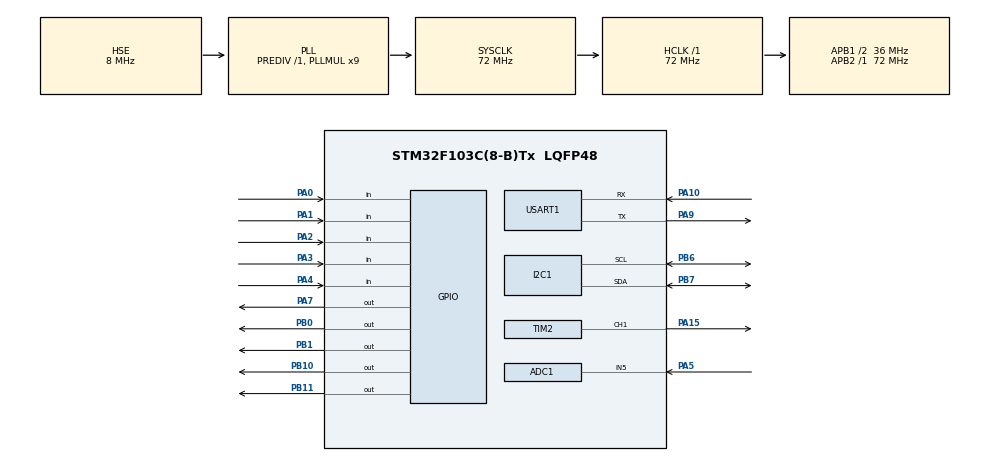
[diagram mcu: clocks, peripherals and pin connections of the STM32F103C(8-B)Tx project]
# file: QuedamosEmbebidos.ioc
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ADC1.Channel-0\#ChannelRegularConversion=ADC_CHANNEL_5
ADC1.ExternalTrigConv=ADC_EXTERNALTRIGCONV_T3_TRGO
ADC1.NbrOfConversionFlag=1
ADC1.Rank-0\#ChannelRegularConversion=1
ADC1.SamplingTime-0\#ChannelRegularConversion=ADC_SAMPLETIME_1CYCLE_5
ADC1.master=1
Dma.Request0=TIM1_UP
Dma.TIM1_UP.0.Direction=DMA_MEMORY_TO_PERIPH
Dma.TIM1_UP.0.Instance=DMA1_Channel5
Dma.TIM1_UP.0.MemDataAlignment=DMA_MDATAALIGN_BYTE
Dma.TIM1_UP.0.MemInc=DMA_MINC_ENABLE
Dma.TIM1_UP.0.Mode=DMA_CIRCULAR
Dma.TIM1_UP.0.PeriphDataAlignment=DMA_PDATAALIGN_HALFWORD
Dma.TIM1_UP.0.PeriphInc=DMA_PINC_DISABLE
Dma.TIM1_UP.0.Priority=DMA_PRIORITY_LOW
FREERTOS.BinarySemaphores01=Semaforo1,Dynamic,NULL,Available
FREERTOS.INCLUDE_xTaskGetCurrentTaskHandle=1
FREERTOS.Tasks01=Bornera,32,128,StartBorneraTask,Default,NULL,Dynamic,NULL,NULL;UI,24,256,StartTaskUI,Default,NULL,Dynamic,NULL,NULL;DAC,24,128,StartDAC,Default,NULL,Dynamic,NULL,NULL
FREERTOS.configTOTAL_HEAP_SIZE=3450
FREERTOS.configUSE_APPLICATION_TASK_TAG=1
FREERTOS.configUSE_NEWLIB_REENTRANT=1
I2C1.I2C_Mode=I2C_Fast
Mcu.Family=STM32F1
Mcu.Name=STM32F103C(8-B)Tx
Mcu.Package=LQFP48
NVIC.ADC1_2_IRQn=true\:5\:0\:false\:false\:true\:true\:true\:true\:true
NVIC.DMA1_Channel5_IRQn=true\:5\:0\:false\:false\:true\:true\:false\:true\:true
NVIC.PriorityGroup=NVIC_PRIORITYGROUP_4
NVIC.TIM3_IRQn=true\:5\:0\:false\:false\:true\:true\:true\:true\:true
NVIC.TIM4_IRQn=true\:15\:0\:false\:false\:true\:false\:false\:true\:true
NVIC.TimeBase=TIM4_IRQn
NVIC.TimeBaseIP=TIM4
PA0-WKUP.GPIO_PuPd=GPIO_PULLUP
PA0-WKUP.Signal=GPIO_Input
PA1.GPIO_PuPd=GPIO_PULLUP
PA1.Signal=GPIO_Input
PA10.Mode=Asynchronous
PA10.Signal=USART1_RX
PA13.Mode=Serial_Wire
PA13.Signal=SYS_JTMS-SWDIO
PA14.Mode=Serial_Wire
PA14.Signal=SYS_JTCK-SWCLK
PA15.Signal=S_TIM2_CH1_ETR
PA2.GPIO_PuPd=GPIO_PULLUP
PA2.Signal=GPIO_Input
PA3.GPIO_PuPd=GPIO_PULLUP
PA3.Signal=GPIO_Input
PA4.GPIO_PuPd=GPIO_PULLUP
PA4.Signal=GPIO_Input
PA5.Signal=ADCx_IN5
PA7.Signal=GPIO_Output
PA9.Mode=Asynchronous
PA9.Signal=USART1_TX
PB0.Signal=GPIO_Output
PB1.Signal=GPIO_Output
PB10.Signal=GPIO_Output
PB11.Signal=GPIO_Output
PB6.Mode=I2C
PB6.Signal=I2C1_SCL
PB7.Mode=I2C
PB7.Signal=I2C1_SDA
PD0-OSC_IN.Mode=HSE-External-Oscillator
PD0-OSC_IN.Signal=RCC_OSC_IN
PD1-OSC_OUT.Mode=HSE-External-Oscillator
PD1-OSC_OUT.Signal=RCC_OSC_OUT
ProjectManager.HeapSize=0x200
ProjectManager.StackSize=0x400
ProjectManager.TargetToolchain=STM32CubeIDE
RCC.ADCPresc=RCC_ADCPCLK2_DIV6
RCC.AHBFreq_Value=72000000
RCC.APB1CLKDivider=RCC_HCLK_DIV2
RCC.APB1Freq_Value=36000000
RCC.APB1TimFreq_Value=72000000
RCC.APB2Freq_Value=72000000
RCC.APB2TimFreq_Value=72000000
RCC.HCLKFreq_Value=72000000
RCC.PLLMUL=RCC_PLL_MUL9
RCC.PLLSourceVirtual=RCC_PLLSOURCE_HSE
RCC.SYSCLKFreq_VALUE=72000000
RCC.SYSCLKSource=RCC_SYSCLKSOURCE_PLLCLK
RCC.USBFreq_Value=72000000
SH.ADCx_IN5.0=ADC1_IN5,IN5
SH.S_TIM2_CH1_ETR.0=TIM2_CH1,PWM Generation1 CH1
TIM1.Period=1000-1
TIM1.Prescaler=72-1
TIM2.Channel-PWM\ Generation1\ CH1=TIM_CHANNEL_1
TIM2.Period=255
TIM3.Period=1000-1
TIM3.Prescaler=72-1
USART1.VirtualMode=VM_ASYNC
VP_FREERTOS_VS_CMSIS_V2.Mode=CMSIS_V2
VP_SYS_VS_tim4.Mode=TIM4
VP_TIM1_VS_ClockSourceINT.Mode=Internal
VP_TIM2_VS_ClockSourceINT.Mode=Internal
VP_TIM3_VS_ClockSourceINT.Mode=Internal
board=custom

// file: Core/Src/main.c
/* USER CODE BEGIN Header */
/**
  ******************************************************************************
  * @file           : main.c
  * @brief          : Main program body
  ******************************************************************************
  * @attention
  *
  * Copyright (c) 2024 STMicroelectronics.
  * All rights reserved.
  *
  * This software is licensed under terms that can be found in the LICENSE file
  * in the root directory of this software component.
  * If no LICENSE file comes with this software, it is provided AS-IS.
  *
  ******************************************************************************
  */
/* USER CODE END Header */
#include "main.h"
#include "cmsis_os.h"

/* USER CODE BEGIN Includes */
#include "ssd1306.h"
#include "math.h"
#include "stdint.h"
#include "stdio.h"
#include "fft.h"
#include "task.h"
/* USER CODE END Includes */

/* USER CODE BEGIN PTD */
typedef enum
{
	ENC_IDLE,
    CW00,
	CW01,
	CW10,
	CCW00,
	CCW01,
	CCW10
} EncoderState;

typedef enum
{
	STATE_A_LOW_B_LOW,
	STATE_A_LOW_B_HIGH,
	STATE_A_HIGH_B_LOW,
	STATE_A_HIGH_B_HIGH
}EncoderEvento;

/* USER CODE END PTD */

/* USER CODE BEGIN PD */
#define NSEN 100
#define PI 3.14159265
#define BUFFER_SIZE 256
#define FFT_SIZE 256

/* USER CODE END PD */

ADC_HandleTypeDef hadc1;

I2C_HandleTypeDef hi2c1;

TIM_HandleTypeDef htim1;
TIM_HandleTypeDef htim2;
TIM_HandleTypeDef htim3;
DMA_HandleTypeDef hdma_tim1_up;

UART_HandleTypeDef huart1;

/* Definitions for Bornera */
osThreadId_t BorneraHandle;
const osThreadAttr_t Bornera_attributes = {
  .name = "Bornera",
  .stack_size = 128 * 4,
  .priority = (osPriority_t) osPriorityAboveNormal,
};
/* Definitions for UI */
osThreadId_t UIHandle;
const osThreadAttr_t UI_attributes = {
  .name = "UI",
  .stack_size = 256 * 4,
  .priority = (osPriority_t) osPriorityNormal,
};
/* Definitions for DAC */
osThreadId_t DACHandle;
const osThreadAttr_t DAC_attributes = {
  .name = "DAC",
  .stack_size = 128 * 4,
  .priority = (osPriority_t) osPriorityNormal,
};
/* Definitions for Semaforo1 */
osSemaphoreId_t Semaforo1Handle;
const osSemaphoreAttr_t Semaforo1_attributes = {
  .name = "Semaforo1"
};
/* USER CODE BEGIN PV */

/* VARIABLES PARA LA UI*/
volatile uint8_t Screen = 1;
volatile uint8_t ConfSub = 0;
volatile uint8_t Boton2 = 0;
volatile int encoder_c = 0;
volatile int enc_uart = 0;
volatile int enc_graf = 0;
int encoder_position = 0;
int flag_salto_screen=0;
int flag_cursor_quieto=0;

/*FLAG PARA SUBMAQUINA 1*/
volatile uint8_t flag_frec = 0;
volatile uint8_t flag_amp = 0;
uint8_t flag_enc = 0;
uint8_t flag_uart = 0;

/*VARIABLES QUE SE MUESTRAN */
uint8_t amplitud = 255;
float frecuencia = 5.0;
uint8_t sine_wave[NSEN] = {0};
uint16_t adc_buffer[BUFFER_SIZE] = {0};
struct cmpx fft[FFT_SIZE];
float fft_R[128];
uint16_t f[128];
uint8_t cont = 0;

/*VARIABLES PARA EL STACK*/
uint16_t FreeBornera,FreeUI,FreeHeap,FreeDAC=0;

/* USER CODE END PV */

void SystemClock_Config(void);
static void MX_GPIO_Init(void);
static void MX_DMA_Init(void);
static void MX_I2C1_Init(void);
static void MX_TIM3_Init(void);
static void MX_USART1_UART_Init(void);
static void MX_TIM1_Init(void);
static void MX_TIM2_Init(void);
static void MX_ADC1_Init(void);
void StartBorneraTask(void *argument);
void StartTaskUI(void *argument);
void StartDAC(void *argument);

/* USER CODE BEGIN PFP */

void SSD1306_FillArea(uint16_t x, uint16_t y, uint16_t w, uint16_t h, uint8_t color);	// RECTANGULO BLANCO DE LA OPCION
void Encoder_UpdatePosition(void); 														// DEVUELVE CAMBIO DEL ENCODER
void Init_PWM_DMA(void);																// INCIA LA PWM Y GENERA EL REQUEST DEL DMA
void DibujarFFT(float *data);

/* USER CODE END PFP */

int main(void)
{

  /* MCU Configuration--------------------------------------------------------*/

  /* Reset of all peripherals, Initializes the Flash interface and the Systick. */
  HAL_Init();

  /* Configure the system clock */
  SystemClock_Config();

  /* Initialize all configured peripherals */
  MX_GPIO_Init();
  MX_DMA_Init();
  MX_I2C1_Init();
  MX_TIM3_Init();
  MX_USART1_UART_Init();
  MX_TIM1_Init();
  MX_TIM2_Init();
  MX_ADC1_Init();
  /* USER CODE BEGIN 2 */
  SSD1306_Init();
  Init_PWM_DMA();
  /* USER CODE END 2 */

  /* Init scheduler */
  osKernelInitialize();

  /* Create the semaphores(s) */
  /* creation of Semaforo1 */
  Semaforo1Handle = osSemaphoreNew(1, 1, &Semaforo1_attributes);

  /* Create the thread(s) */
  /* creation of Bornera */
  BorneraHandle = osThreadNew(StartBorneraTask, NULL, &Bornera_attributes);

  /* creation of UI */
  UIHandle = osThreadNew(StartTaskUI, NULL, &UI_attributes);

  /* creation of DAC */
  DACHandle = osThreadNew(StartDAC, NULL, &DAC_attributes);

  /* Start scheduler */
  osKernelStart();

  /* We should never get here as control is now taken by the scheduler */

  /* Infinite loop */
  while (1)
  {

  }
}

void SystemClock_Config(void)
{
  RCC_OscInitTypeDef RCC_OscInitStruct = {0};
  RCC_ClkInitTypeDef RCC_ClkInitStruct = {0};
  RCC_PeriphCLKInitTypeDef PeriphClkInit = {0};

  /** Initializes the RCC Oscillators according to the specified parameters
  * in the RCC_OscInitTypeDef structure.
  */
  RCC_OscInitStruct.OscillatorType = RCC_OSCILLATORTYPE_HSE;
  RCC_OscInitStruct.HSEState = RCC_HSE_ON;
  RCC_OscInitStruct.HSEPredivValue = RCC_HSE_PREDIV_DIV1;
  RCC_OscInitStruct.HSIState = RCC_HSI_ON;
  RCC_OscInitStruct.PLL.PLLState = RCC_PLL_ON;
  RCC_OscInitStruct.PLL.PLLSource = RCC_PLLSOURCE_HSE;
  RCC_OscInitStruct.PLL.PLLMUL = RCC_PLL_MUL9;
  if (HAL_RCC_OscConfig(&RCC_OscInitStruct) != HAL_OK)
  {
    Error_Handler();
  }

  /** Initializes the CPU, AHB and APB buses clocks
  */
  RCC_ClkInitStruct.ClockType = RCC_CLOCKTYPE_HCLK|RCC_CLOCKTYPE_SYSCLK
                              |RCC_CLOCKTYPE_PCLK1|RCC_CLOCKTYPE_PCLK2;
  RCC_ClkInitStruct.SYSCLKSource = RCC_SYSCLKSOURCE_PLLCLK;
  RCC_ClkInitStruct.AHBCLKDivider = RCC_SYSCLK_DIV1;
  RCC_ClkInitStruct.APB1CLKDivider = RCC_HCLK_DIV2;
  RCC_ClkInitStruct.APB2CLKDivider = RCC_HCLK_DIV1;

  if (HAL_RCC_ClockConfig(&RCC_ClkInitStruct, FLASH_LATENCY_2) != HAL_OK)
  {
    Error_Handler();
  }
  PeriphClkInit.PeriphClockSelection = RCC_PERIPHCLK_ADC;
  PeriphClkInit.AdcClockSelection = RCC_ADCPCLK2_DIV6;
  if (HAL_RCCEx_PeriphCLKConfig(&PeriphClkInit) != HAL_OK)
  {
    Error_Handler();
  }
}

static void MX_ADC1_Init(void)
{

  ADC_ChannelConfTypeDef sConfig = {0};

  /** Common config
  */
  hadc1.Instance = ADC1;
  hadc1.Init.ScanConvMode = ADC_SCAN_DISABLE;
  hadc1.Init.ContinuousConvMode = DISABLE;
  hadc1.Init.DiscontinuousConvMode = DISABLE;
  hadc1.Init.ExternalTrigConv = ADC_EXTERNALTRIGCONV_T3_TRGO;
  hadc1.Init.DataAlign = ADC_DATAALIGN_RIGHT;
  hadc1.Init.NbrOfConversion = 1;
  if (HAL_ADC_Init(&hadc1) != HAL_OK)
  {
    Error_Handler();
  }

  /** Configure Regular Channel
  */
  sConfig.Channel = ADC_CHANNEL_5;
  sConfig.Rank = ADC_REGULAR_RANK_1;
  sConfig.SamplingTime = ADC_SAMPLETIME_1CYCLE_5;
  if (HAL_ADC_ConfigChannel(&hadc1, &sConfig) != HAL_OK)
  {
    Error_Handler();
  }

}

static void MX_I2C1_Init(void)
{

  hi2c1.Instance = I2C1;
  hi2c1.Init.ClockSpeed = 400000;
  hi2c1.Init.DutyCycle = I2C_DUTYCYCLE_2;
  hi2c1.Init.OwnAddress1 = 0;
  hi2c1.Init.AddressingMode = I2C_ADDRESSINGMODE_7BIT;
  hi2c1.Init.DualAddressMode = I2C_DUALADDRESS_DISABLE;
  hi2c1.Init.OwnAddress2 = 0;
  hi2c1.Init.GeneralCallMode = I2C_GENERALCALL_DISABLE;
  hi2c1.Init.NoStretchMode = I2C_NOSTRETCH_DISABLE;
  if (HAL_I2C_Init(&hi2c1) != HAL_OK)
  {
    Error_Handler();
  }

}

static void MX_TIM1_Init(void)
{

  TIM_ClockConfigTypeDef sClockSourceConfig = {0};
  TIM_MasterConfigTypeDef sMasterConfig = {0};

  htim1.Instance = TIM1;
  htim1.Init.Prescaler = 72-1;
  htim1.Init.CounterMode = TIM_COUNTERMODE_UP;
  htim1.Init.Period = 1000-1;
  htim1.Init.ClockDivision = TIM_CLOCKDIVISION_DIV1;
  htim1.Init.RepetitionCounter = 0;
  htim1.Init.AutoReloadPreload = TIM_AUTORELOAD_PRELOAD_DISABLE;
  if (HAL_TIM_Base_Init(&htim1) != HAL_OK)
  {
    Error_Handler();
  }
  sClockSourceConfig.ClockSource = TIM_CLOCKSOURCE_INTERNAL;
  if (HAL_TIM_ConfigClockSource(&htim1, &sClockSourceConfig) != HAL_OK)
  {
    Error_Handler();
  }
  sMasterConfig.MasterOutputTrigger = TIM_TRGO_RESET;
  sMasterConfig.MasterSlaveMode = TIM_MASTERSLAVEMODE_DISABLE;
  if (HAL_TIMEx_MasterConfigSynchronization(&htim1, &sMasterConfig) != HAL_OK)
  {
    Error_Handler();
  }

}

static void MX_TIM2_Init(void)
{

  TIM_ClockConfigTypeDef sClockSourceConfig = {0};
  TIM_MasterConfigTypeDef sMasterConfig = {0};
  TIM_OC_InitTypeDef sConfigOC = {0};

  htim2.Instance = TIM2;
  htim2.Init.Prescaler = 0;
  htim2.Init.CounterMode = TIM_COUNTERMODE_UP;
  htim2.Init.Period = 255;
  htim2.Init.ClockDivision = TIM_CLOCKDIVISION_DIV1;
  htim2.Init.AutoReloadPreload = TIM_AUTORELOAD_PRELOAD_DISABLE;
  if (HAL_TIM_Base_Init(&htim2) != HAL_OK)
  {
    Error_Handler();
  }
  sClockSourceConfig.ClockSource = TIM_CLOCKSOURCE_INTERNAL;
  if (HAL_TIM_ConfigClockSource(&htim2, &sClockSourceConfig) != HAL_OK)
  {
    Error_Handler();
  }
  if (HAL_TIM_PWM_Init(&htim2) != HAL_OK)
  {
    Error_Handler();
  }
  sMasterConfig.MasterOutputTrigger = TIM_TRGO_RESET;
  sMasterConfig.MasterSlaveMode = TIM_MASTERSLAVEMODE_DISABLE;
  if (HAL_TIMEx_MasterConfigSynchronization(&htim2, &sMasterConfig) != HAL_OK)
  {
    Error_Handler();
  }
  sConfigOC.OCMode = TIM_OCMODE_PWM1;
  sConfigOC.Pulse = 0;
  sConfigOC.OCPolarity = TIM_OCPOLARITY_HIGH;
  sConfigOC.OCFastMode = TIM_OCFAST_DISABLE;
  if (HAL_TIM_PWM_ConfigChannel(&htim2, &sConfigOC, TIM_CHANNEL_1) != HAL_OK)
  {
    Error_Handler();
  }
  HAL_TIM_MspPostInit(&htim2);

}

static void MX_TIM3_Init(void)
{

  TIM_ClockConfigTypeDef sClockSourceConfig = {0};
  TIM_MasterConfigTypeDef sMasterConfig = {0};

  htim3.Instance = TIM3;
  htim3.Init.Prescaler = 72-1;
  htim3.Init.CounterMode = TIM_COUNTERMODE_UP;
  htim3.Init.Period = 1000-1;
  htim3.Init.ClockDivision = TIM_CLOCKDIVISION_DIV1;
  htim3.Init.AutoReloadPreload = TIM_AUTORELOAD_PRELOAD_DISABLE;
  if (HAL_TIM_Base_Init(&htim3) != HAL_OK)
  {
    Error_Handler();
  }
  sClockSourceConfig.ClockSource = TIM_CLOCKSOURCE_INTERNAL;
  if (HAL_TIM_ConfigClockSource(&htim3, &sClockSourceConfig) != HAL_OK)
  {
    Error_Handler();
  }
  sMasterConfig.MasterOutputTrigger = TIM_TRGO_RESET;
  sMasterConfig.MasterSlaveMode = TIM_MASTERSLAVEMODE_DISABLE;
  if (HAL_TIMEx_MasterConfigSynchronization(&htim3, &sMasterConfig) != HAL_OK)
  {
    Error_Handler();
  }

}

static void MX_USART1_UART_Init(void)
{

  huart1.Instance = USART1;
  huart1.Init.BaudRate = 115200;
  huart1.Init.WordLength = UART_WORDLENGTH_8B;
  huart1.Init.StopBits = UART_STOPBITS_1;
  huart1.Init.Parity = UART_PARITY_NONE;
  huart1.Init.Mode = UART_MODE_TX_RX;
  huart1.Init.HwFlowCtl = UART_HWCONTROL_NONE;
  huart1.Init.OverSampling = UART_OVERSAMPLING_16;
  if (HAL_UART_Init(&huart1) != HAL_OK)
  {
    Error_Handler();
  }

}

static void MX_DMA_Init(void)
{

  /* DMA controller clock enable */
  __HAL_RCC_DMA1_CLK_ENABLE();

  /* DMA interrupt init */
  /* DMA1_Channel5_IRQn interrupt configuration */
  HAL_NVIC_SetPriority(DMA1_Channel5_IRQn, 5, 0);
  HAL_NVIC_EnableIRQ(DMA1_Channel5_IRQn);

}

static void MX_GPIO_Init(void)
{
  GPIO_InitTypeDef GPIO_InitStruct = {0};

  /* GPIO Ports Clock Enable */
  __HAL_RCC_GPIOD_CLK_ENABLE();
  __HAL_RCC_GPIOA_CLK_ENABLE();
  __HAL_RCC_GPIOB_CLK_ENABLE();

  /*Configure GPIO pin Output Level */
  HAL_GPIO_WritePin(GPIOA, GPIO_PIN_7, GPIO_PIN_RESET);

  /*Configure GPIO pin Output Level */
  HAL_GPIO_WritePin(GPIOB, GPIO_PIN_0|GPIO_PIN_1|GPIO_PIN_10|GPIO_PIN_11, GPIO_PIN_RESET);

  /*Configure GPIO pins : PA0 PA1 PA2 PA3
                           PA4 */
  GPIO_InitStruct.Pin = GPIO_PIN_0|GPIO_PIN_1|GPIO_PIN_2|GPIO_PIN_3
                          |GPIO_PIN_4;
  GPIO_InitStruct.Mode = GPIO_MODE_INPUT;
  GPIO_InitStruct.Pull = GPIO_PULLUP;
  HAL_GPIO_Init(GPIOA, &GPIO_InitStruct);

  /*Configure GPIO pin : PA7 */
  GPIO_InitStruct.Pin = GPIO_PIN_7;
  GPIO_InitStruct.Mode = GPIO_MODE_OUTPUT_PP;
  GPIO_InitStruct.Pull = GPIO_NOPULL;
  GPIO_InitStruct.Speed = GPIO_SPEED_FREQ_LOW;
  HAL_GPIO_Init(GPIOA, &GPIO_InitStruct);

  /*Configure GPIO pins : PB0 PB1 PB10 PB11 */
  GPIO_InitStruct.Pin = GPIO_PIN_0|GPIO_PIN_1|GPIO_PIN_10|GPIO_PIN_11;
  GPIO_InitStruct.Mode = GPIO_MODE_OUTPUT_PP;
  GPIO_InitStruct.Pull = GPIO_NOPULL;
  GPIO_InitStruct.Speed = GPIO_SPEED_FREQ_LOW;
  HAL_GPIO_Init(GPIOB, &GPIO_InitStruct);

}

/* USER CODE BEGIN 4 */
void callback_in(int tag)
{
	switch (tag)
	{
		case TAG_TASK_TAREA0: HAL_GPIO_WritePin(GPIOB, GPIO_PIN_0, GPIO_PIN_SET); break;
		case TAG_TASK_UI: HAL_GPIO_WritePin(GPIOB, GPIO_PIN_1, GPIO_PIN_SET); break;
		case TAG_TASK_BORNERA: HAL_GPIO_WritePin(GPIOB, GPIO_PIN_10, GPIO_PIN_SET); break;
		case TAG_TASK_DAC: HAL_GPIO_WritePin(GPIOB, GPIO_PIN_11, GPIO_PIN_SET); break;
	}
}
void callback_out(int tag)
{
	switch (tag)
	{
		case TAG_TASK_TAREA0: HAL_GPIO_WritePin(GPIOB, GPIO_PIN_0, GPIO_PIN_RESET); break;
		case TAG_TASK_UI: HAL_GPIO_WritePin(GPIOB, GPIO_PIN_1, GPIO_PIN_RESET); break;
		case TAG_TASK_BORNERA: HAL_GPIO_WritePin(GPIOB, GPIO_PIN_10, GPIO_PIN_RESET); break;
		case TAG_TASK_DAC: HAL_GPIO_WritePin(GPIOB, GPIO_PIN_11, GPIO_PIN_RESET); break;
	}
}

void Init_PWM_DMA(void)
	{
		HAL_TIM_PWM_Start(&htim2, TIM_CHANNEL_1);
		HAL_DMA_Start(&hdma_tim1_up, (uint32_t) sine_wave,(uint32_t)&(TIM2->CCR1), NSEN);
		__HAL_TIM_ENABLE_DMA(&htim1, TIM_DMA_UPDATE);
		HAL_TIM_Base_Start(&htim1);

		HAL_TIM_Base_Start(&htim3);
		HAL_ADCEx_Calibration_Start(&hadc1);  //calibrar el ADC
		HAL_ADC_Start_IT(&hadc1); // Iniciar ADC con interrupciones
	}
void HAL_ADC_ConvCpltCallback(ADC_HandleTypeDef* hadc)
	{
		HAL_GPIO_TogglePin(GPIOA, GPIO_PIN_7);
		adc_buffer[cont] = HAL_ADC_GetValue(&hadc1);
		cont ++;
		if(cont == 255){
		HAL_ADC_Stop_IT(&hadc1);
		osSemaphoreRelease(Semaforo1Handle);   // LIBERO SEMAFORO PORQUE TENGO LAS MUESTRAS PARA GRAFICAR
		cont = 0;
		}
	}

void Encoder_UpdatePosition(void)
{
		static EncoderState encoder_state = ENC_IDLE; 			// VARIABLE ESTATICA
		uint8_t A_state = HAL_GPIO_ReadPin(GPIOA, GPIO_PIN_0);
		uint8_t B_state = HAL_GPIO_ReadPin(GPIOA, GPIO_PIN_1);
		EncoderEvento encoder_evento;

        // Determinar el nuevo evento del encoder
        switch ((A_state << 1) | B_state)
        {
            case 0b00:
            	encoder_evento = STATE_A_LOW_B_LOW;
                break;
            case 0b01:
            	encoder_evento = STATE_A_LOW_B_HIGH;
                break;
            case 0b10:
            	encoder_evento = STATE_A_HIGH_B_LOW;
                break;
            case 0b11:
            	encoder_evento = STATE_A_HIGH_B_HIGH;
                break;
            default:
                return;
        }
        switch (encoder_state)
        {
        	case ENC_IDLE:
        		switch(encoder_evento)
        		{
        			case STATE_A_LOW_B_HIGH: encoder_state = CW01;  break;
        			case STATE_A_HIGH_B_LOW: encoder_state = CCW10; break;
        			default: break;
        		}
        		break;
        	case CW01:
        		switch(encoder_evento)
        		{
        			case STATE_A_HIGH_B_HIGH: encoder_state = ENC_IDLE; break;
        			case STATE_A_LOW_B_LOW: encoder_state = CW00; break;
        			default: break;
        		}
        		break;
        	case CW00:
        		switch(encoder_evento)
        		{
        			case STATE_A_HIGH_B_HIGH: encoder_state = ENC_IDLE; break;
        			case STATE_A_LOW_B_HIGH: encoder_state = CW01; break;
        			case STATE_A_HIGH_B_LOW: encoder_state = CW10; break;
        			default: break;
        		}
        		break;
        	case CW10:
        		switch(encoder_evento)
        		{
        			case STATE_A_HIGH_B_HIGH:
        				if(flag_cursor_quieto==0)
        				{
        					encoder_position++;
        				}
        					if (flag_frec == 1)
        					{
        						frecuencia = frecuencia + 0.1;
        						flag_frec = 0;
        					}
							if (amplitud < 255 && flag_amp == 1)
							{
								amplitud ++;
								flag_amp = 0;
							}
        				if(flag_enc == 1)
        				{
        					encoder_c = (encoder_c + 1) % 2;
        					flag_enc = 0;
        				}
        				if(flag_uart == 1)
        				{
        					enc_uart = (enc_uart + 1) % 2;;
        					flag_uart = 0;
        				}
        				encoder_state = ENC_IDLE;
        			break;
        			case STATE_A_LOW_B_LOW: encoder_state = CW00; break;
        			default: break;
        		}
        		break;
        	case CCW00:
        		switch(encoder_evento)
        		{
        			case STATE_A_HIGH_B_HIGH: encoder_state = ENC_IDLE;  break;
        			case STATE_A_LOW_B_HIGH: encoder_state = CCW01; break;
        			case STATE_A_HIGH_B_LOW: encoder_state = CCW10; break;
        			default: break;
        		}
        		break;
        	case CCW01:
        		switch(encoder_evento)
        		{
        			case STATE_A_LOW_B_LOW: encoder_state = CCW00; break;
        			case STATE_A_HIGH_B_HIGH:
        				if(flag_cursor_quieto==0)
        				{
        					encoder_position--;
        				}
        					if (flag_frec == 1)
        					{
        						frecuencia = frecuencia - 0.1;
        						flag_frec = 0;
        					}
							if(amplitud > 0 && flag_amp == 1)
							{
								amplitud -- ;
								flag_amp = 0;
							}

        				if(flag_enc == 1)
        				{
        					encoder_c = (encoder_c + 1) % 2;
        					flag_enc = 0;
        				}
        				if(flag_uart == 1)
        				{
        					enc_uart = (enc_uart + 1) % 2;;
        					flag_uart = 0;
        				}

        				encoder_state = ENC_IDLE;
        			break;
        			default: break;
        		}
        		break;
        	case CCW10:
        		switch(encoder_evento)
        		{
        			case STATE_A_HIGH_B_HIGH: encoder_state = ENC_IDLE;  break;
        			case STATE_A_LOW_B_LOW: encoder_state = CCW00; break;
        			default: break;
        		}
        		break;
            }
        // LIMITO VALOR 0 y 128 (TAMAÑO DE LA PANTALLA)
        if (encoder_position < 0)
        {
        	encoder_position = 0;
        }
        else if (encoder_position > 127)
        {
        	encoder_position = 127;
        }

        // LIMITO VALOR ENTRE 10 y 500
        if (frecuencia < 0.1)
        {
        	frecuencia = 0.1;
        }
        else if (frecuencia > 50)
        {
        	frecuencia = 50;
        }
}

void SSD1306_FillArea(uint16_t x, uint16_t y, uint16_t w, uint16_t h, uint8_t color)
{
    for (uint16_t i = x; i < x + w; i++)
    {
        for (uint16_t j = y; j < y + h; j++)
        {
            SSD1306_DrawPixel(i, j, color);
        }
    }
}

void DibujarFFT(float *data)
	{
		uint8_t prevY = 63 - (uint8_t)(data[0]*38.1818);
		if (prevY < 0) prevY = 0;
		if (prevY > 63) prevY = 63;
		for (int x = 1; x < 128; x++){
			uint8_t y = 63 - (uint8_t)(data[x]*38.1818);
			if (y < 0) y = 0;
			if (y > 63) y = 63;
			SSD1306_DrawLine(x-1, prevY, x, y, SSD1306_COLOR_WHITE);
			prevY = y;
		}
}

/* USER CODE END 4 */

void StartBorneraTask(void *argument)
{
  /* USER CODE BEGIN 5 */
	vTaskSetApplicationTaskTag( NULL, (void*) TAG_TASK_BORNERA);
  /* Infinite loop */
  for(;;)
  {
	  Encoder_UpdatePosition();
	  //LOGICA BOTON ENCODER
	  static uint32_t last_screen_change_time = 0;
	  uint32_t current_time_screen = HAL_GetTick();
	  if ((current_time_screen - last_screen_change_time) > 200){
		  if (HAL_GPIO_ReadPin(GPIOA, GPIO_PIN_3) == GPIO_PIN_RESET){
	  			  Screen = (Screen + 1) % 3;
	  			  last_screen_change_time = current_time_screen;
		  }
	  }
	  //LOGICA BOTON CONFSUB
	  static uint32_t last_conf_change_time = 0;
	  uint32_t current_time_conf = HAL_GetTick();
	  if ((current_time_conf - last_conf_change_time) > 200){
		  if (HAL_GPIO_ReadPin(GPIOA, GPIO_PIN_2) == GPIO_PIN_RESET)
	  		  {
	  			  ConfSub = (ConfSub + 1) % 4;
	  			  last_conf_change_time = current_time_conf;
	  		  }
	  }
	  static uint32_t last_conf2_change_time = 0;
	  uint32_t current_time_conf2 = HAL_GetTick();
	  if ((current_time_conf2 - last_conf2_change_time) > 200){
		  if (HAL_GPIO_ReadPin(GPIOA, GPIO_PIN_4) == GPIO_PIN_RESET){
	  			  Boton2 = (Boton2 + 1) % 2;
	  			  last_conf2_change_time = current_time_conf2;
		  }
	  }
	  FreeBornera= 4*osThreadGetStackSpace(BorneraHandle);
	  osDelay(1);
  }
  /* USER CODE END 5 */
}

void StartTaskUI(void *argument)
{
  /* USER CODE BEGIN StartTaskUI */
	vTaskSetApplicationTaskTag( NULL, (void*) TAG_TASK_UI);
	char frecuencia_display[4];
	char amplitud_display[6];
	char fft_buffer_display[50];
	char amplitud_pantalla[6];
	char frec_pantalla[6];
	int integerPart_A=0;
	int decimalPart_A=0;
	int integerPart_F=0;
	int decimalPart_F=0;
	int integerPart;
	int decimalPart;

  /* Infinite loop */
  for(;;)
  {
	SSD1306_Fill(0);
	flag_enc = 0;
	flag_uart = 0;
	flag_frec = 0;
	flag_amp = 0;
	integerPart = (amplitud*330/255) / 100;
	decimalPart = (amplitud*330/255) % 100;
	itoa(frecuencia*10, frecuencia_display, 10);	//ACA LA FRECUENCIA PASA A SER 50 , MULTIPLICO POR 10 Y GUARDO EN ARREGLO
	switch(Screen)
	{
	   case 0:
		if (osSemaphoreAcquire(Semaforo1Handle, 1000) == osOK){
	  		for (int i = 0; i < BUFFER_SIZE; i++){
	  			fft[i].real = adc_buffer[i] * 3.3 / 4096.0; //ESCALAMIENTO ADC 12 BITS
	  			fft[i].imag = 0;
	  		}
	  		FFT(fft, BUFFER_SIZE);
	  		for(int i = 0; i < 128; i++){
	  			if(i != 0 && i != 128){
	  			fft_R[i] = (sqrt(fft[i].real*fft[i].real+fft[i].imag*fft[i].imag)/256)*2; //ESCALAMIENTO DESPUES DE HACER LA FFT
	  			}
	  			else{
	  			fft_R[i] = (sqrt(fft[i].real*fft[i].real+fft[i].imag*fft[i].imag)/256);
	  			}

	  			f[i] = 10000*i/255;	 // RESHAPE
	  		}
	  		DibujarFFT(fft_R);
	  		HAL_ADC_Start_IT(&hadc1);
	  		osSemaphoreRelease(Semaforo1Handle);
	  	}
		//MUESTRA EN PANTALLA LA CONFIGURACION DEL CURSOR
		integerPart_A = abs(fft_R[encoder_position]*1000) / 1000;
	  	decimalPart_A = abs(fft_R[encoder_position]*1000) % 1000;
	  	snprintf(amplitud_pantalla, sizeof(amplitud_pantalla), "%d.%03d", integerPart_A, decimalPart_A);
	  	integerPart_F = f[encoder_position] / 10;
	  	decimalPart_F = f[encoder_position] % 10;
	  	snprintf(frec_pantalla, sizeof(frec_pantalla), "%03d.%01d", integerPart_F, decimalPart_F);
	  	if(enc_graf == 1){
	  		SSD1306_DrawLine(encoder_position, 0, encoder_position, 64, SSD1306_COLOR_WHITE);
	  	}
	  	SSD1306_GotoXY (70, 0);
	  	SSD1306_Puts (amplitud_pantalla, &Font_7x10, 1);
		SSD1306_GotoXY (70, 10);
		SSD1306_Puts (frec_pantalla, &Font_7x10, 1);
		SSD1306_GotoXY (110, 0);
		SSD1306_Puts("V", &Font_7x10, 1);
		SSD1306_GotoXY (110, 10);
		SSD1306_Puts("Hz", &Font_7x10, 1);
		if(ConfSub == 1){
			flag_frec = 1;
	  	}
	  	if(ConfSub == 2){
	  	flag_amp = 1;
	  	}
	  	if (Boton2== 0 && flag_salto_screen==1){
	  		Screen=1;
	  		flag_salto_screen==0;
	  		flag_cursor_quieto=0;
	  	}
	  break;
	  case 1:
		SSD1306_GotoXY(0, 0);
	  	SSD1306_Puts("Configuracion", &Font_7x10, 1);
	  	SSD1306_GotoXY(0, 20);
	  	SSD1306_Puts("Cursor", &Font_7x10, 1);
	  	SSD1306_GotoXY(0, 30);
	  	SSD1306_Puts("Frecuencia:", &Font_7x10, 1);
	  	SSD1306_GotoXY(0, 40);
	  	SSD1306_Puts("Amplitud:", &Font_7x10, 1);
	  	SSD1306_GotoXY(0, 50);
	  	SSD1306_Puts("Imp por UART:", &Font_7x10, 1);
	  	//SWITCH DE LA PSEUDOMAQUINA DEL SCREEN1
	  	switch (ConfSub)
	  	{
	  		case 0:
	  			flag_enc = 1;
	  			flag_uart = 0;
	  			flag_frec = 0;
	  			flag_amp = 0;
	  			SSD1306_FillArea(0, 20, SSD1306_WIDTH, 10, 1);
	  			SSD1306_GotoXY(0, 20);
				SSD1306_Puts("Cursor", &Font_7x10, 0);
				SSD1306_GotoXY(70, 20);
	  			if (encoder_c == 1){
	  				SSD1306_Puts("si", &Font_7x10, 0);
	  				enc_graf = 1;
	  				flag_salto_screen=1;
	  				flag_cursor_quieto=0;
	  				}
	  			else if (encoder_c == 0){
	  				SSD1306_Puts("no", &Font_7x10, 0);
	  				enc_graf = 0;
	  				flag_salto_screen=0;
	  				flag_cursor_quieto=1;
	  			}
	  			if (Boton2== 1 && flag_salto_screen==1)
	  			{
	  				Screen=0;
	  			}
	  		break;
	  		case 1:
	  			flag_enc = 0;
	  			flag_uart = 0;
	  			flag_frec = 1;
	  			flag_amp = 0;
	  			flag_cursor_quieto=1;
	  			SSD1306_FillArea(0, 30, SSD1306_WIDTH, 10, 1);
	  			SSD1306_GotoXY(0, 30);
	  			SSD1306_Puts("Frecuencia:", &Font_7x10, 0);
	  			SSD1306_GotoXY(90, 30);
	  			SSD1306_Puts(frecuencia_display, &Font_7x10, 0);
	  			flag_salto_screen=1;
	  			if (Boton2== 1 && flag_salto_screen==1){
	  				Screen=0;
	  			}
	  		break;
	  		case 2:
	  			flag_enc = 0;
	  			flag_uart = 0;
	  			flag_frec = 0;
	  			flag_amp = 1;
	  			flag_cursor_quieto=1;
	  			SSD1306_FillArea(0, 40, SSD1306_WIDTH, 10, 1);
	  			SSD1306_GotoXY(0, 40);
	  			SSD1306_Puts("Amplitud:", &Font_7x10, 0);
	  			SSD1306_GotoXY(90, 40);
	  			snprintf(amplitud_display, sizeof(amplitud_display), "%d.%02d", integerPart, decimalPart);
	  			SSD1306_Puts(amplitud_display, &Font_7x10, 0);
	  			SSD1306_Puts(frecuencia_display, &Font_7x10, 0);
	  			flag_salto_screen=1;
	  			if (Boton2== 1 && flag_salto_screen==1)
	  			{
	  				flag_cursor_quieto=1;
	  				Screen=0;
	  			}

	  		break;
	  		case 3:
	  			flag_enc = 0;
	  			flag_uart = 1;
	  			flag_frec = 0;
	  			flag_amp = 0;
	  			flag_cursor_quieto=1;
	  			SSD1306_FillArea(0, 50, SSD1306_WIDTH, 10, 1);
	  			SSD1306_GotoXY(0, 50);
	  			SSD1306_Puts("Imp por UART:", &Font_7x10, 0);
	  			SSD1306_GotoXY(100, 50);
	  			if (enc_uart == 1){
	  				SSD1306_Puts("Si", &Font_7x10, 0);
	  				for (int i = 0; i < 128; i++){
	  					int integerPartR = (fft[i].real*10000) / 10000;
	  					int decimalPartR = (uint32_t)(fft[i].real*10000) % 10000;
	  					int integerPartI = (fft[i].imag*10000) / 10000;
	  					int decimalPartI = (uint32_t)(fft[i].imag*10000) % 10000;
	  					snprintf(fft_buffer_display, sizeof(fft_buffer_display), "%d.%04d + %d.%04di \r\n", integerPartR, decimalPartR, integerPartI, decimalPartI);
	  					HAL_UART_Transmit(&huart1, (uint8_t *)fft_buffer_display, strlen(fft_buffer_display), HAL_MAX_DELAY);
	  				}
	  			enc_uart = 0;
	  			}
	  			else if (enc_uart == 0)
	  			{
	  			SSD1306_Puts("No", &Font_7x10, 0);
	  			}

	  		break;
	  	}
	  	break;
	  	case 2:
	  		flag_enc = 0;
	  		flag_uart = 1;
	  		flag_frec = 0;
	  		flag_amp = 0;
	  		flag_salto_screen=0;
	  		snprintf(amplitud_pantalla, sizeof(amplitud_pantalla), "%d.%03d", integerPart_A, decimalPart_A);
	  		snprintf(frec_pantalla, sizeof(frec_pantalla), "%03d.%01d", integerPart_F, decimalPart_F);
	  		snprintf(amplitud_display, sizeof(amplitud_display), "%d.%02d", integerPart, decimalPart);
	  		itoa(frecuencia*10, frecuencia_display, 10);
	  		SSD1306_GotoXY(10,0);
	  		SSD1306_Puts("Informacion", &Font_7x10, 1);
	  		SSD1306_GotoXY(0, 10);
	  		SSD1306_Puts("Cursor:", &Font_7x10, 1);
	  		SSD1306_GotoXY(0, 40);
	  		SSD1306_Puts("Generador de senal:", &Font_7x10, 1);
	  		SSD1306_GotoXY(0, 20);
	  		SSD1306_Puts (amplitud_pantalla, &Font_7x10, 1);
	  		SSD1306_GotoXY (60, 20);
	  		SSD1306_Puts (frec_pantalla, &Font_7x10, 1);
	  		SSD1306_GotoXY(0, 50);
	  		SSD1306_Puts (amplitud_display, &Font_7x10, 1);
	  		SSD1306_GotoXY (70, 50);
	  		SSD1306_Puts (frecuencia_display, &Font_7x10, 1);
	  		SSD1306_GotoXY(40, 20);
	  		SSD1306_Puts ("V  ", &Font_7x10, 1);
	  		SSD1306_GotoXY(40, 50);
	  		SSD1306_Puts ("V", &Font_7x10, 1);
	  		SSD1306_GotoXY (100, 20);
	  		SSD1306_Puts ("Hz ", &Font_7x10, 1);
	  		SSD1306_GotoXY (100, 50);
	  		SSD1306_Puts ("Hz", &Font_7x10, 1);
	  	break;
	  	}
	  	SSD1306_UpdateScreen();
	  	FreeUI= 4*osThreadGetStackSpace(UIHandle);
	  	osDelay(80);
  }
  /* USER CODE END StartTaskUI */
}

void StartDAC(void *argument)
{
  /* USER CODE BEGIN StartDAC */
	vTaskSetApplicationTaskTag( NULL, (void*) TAG_TASK_DAC);
  /* Infinite loop */
  for(;;)
  {
	  for(int i = 0; i < NSEN ; i++){
	  		  sine_wave[i] = (uint8_t)((float)amplitud/2*(sin(2.0*PI*i*frecuencia/(float)NSEN)+1.0));
	  }
	  FreeDAC=4*osThreadGetStackSpace(DACHandle);
	  FreeHeap=xPortGetFreeHeapSize();
	  osDelay(10);

  }
  /* USER CODE END StartDAC */
}

void HAL_TIM_PeriodElapsedCallback(TIM_HandleTypeDef *htim)
{
  if (htim->Instance == TIM4) {
    HAL_IncTick();
  }
}

void Error_Handler(void)
{
  __disable_irq();
  while (1)
  {
  }
}
